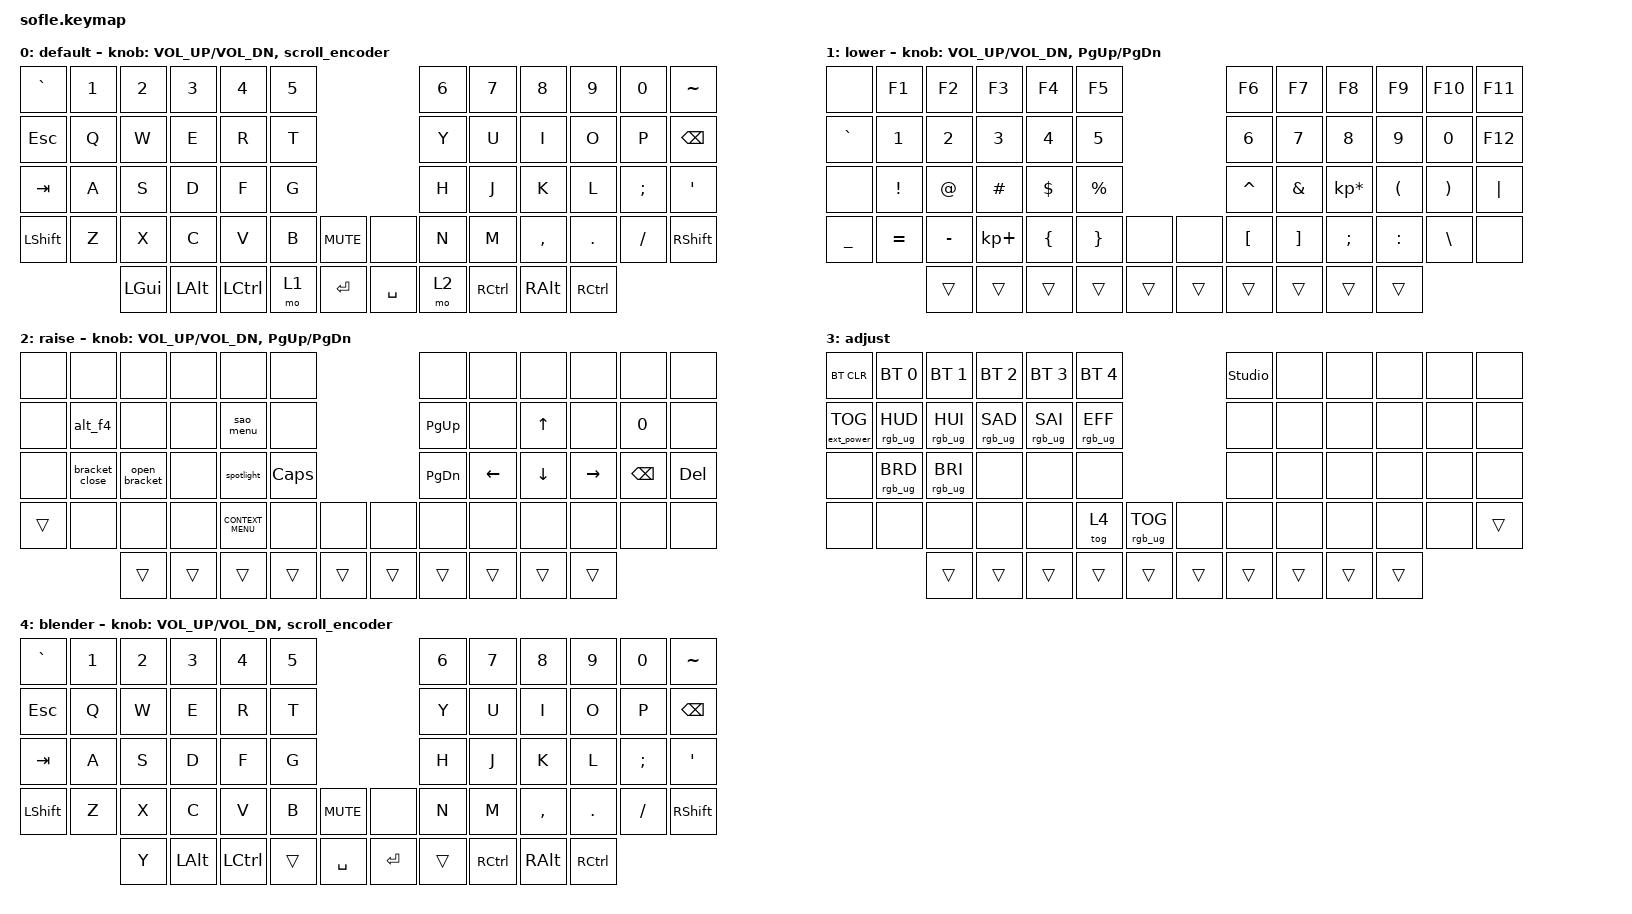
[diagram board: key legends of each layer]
/*
 * Copyright (c) 2020 The ZMK Contributors
 *
 * SPDX-License-Identifier: MIT
 */

#define ZMK_POINTING_DEFAULT_MOVE_VAL 1200  // 600
#define ZMK_POINTING_DEFAULT_SCRL_VAL 25   // 10

#include <behaviors.dtsi>
#include <dt-bindings/zmk/bt.h>
#include <dt-bindings/zmk/ext_power.h>
#include <dt-bindings/zmk/keys.h>
#include <dt-bindings/zmk/pointing.h>
#include <dt-bindings/zmk/rgb.h>

#define BASE 0
#define LOWER 1
#define RAISE 2
#define ADJUST 3

&msc {
    acceleration-exponent = <1>;      // 0
    time-to-max-speed-ms = <100>;       // 300
    delay-ms = <0>;                   // 0
};

&mmv {
    time-to-max-speed-ms = <500>;
    acceleration-exponent = <1>;
    trigger-period-ms = <16>;
};

/ {
    scroll_encoder: scroll_encoder {
        compatible = "zmk,behavior-sensor-rotate";
        #sensor-binding-cells = <0>;
        bindings = <&msc SCRL_DOWN>, <&msc SCRL_UP>;

        tap-ms = <100>;
    };

    // Activate ADJUST layer by pressing raise and lower

    conditional_layers {
        compatible = "zmk,conditional-layers";

        adjust_layer {
            if-layers = <1 2>;
            then-layer = <3>;
        };
    };

    behaviors {
    };

    macros {
        bracket_close: bracket_close {
            compatible = "zmk,behavior-macro";
            #binding-cells = <0>;
            bindings = <&kp LS(LC(LEFT_BRACKET))>;
            label = "BRACKET_CLOSE";
        };

        open_bracket: open_bracket {
            compatible = "zmk,behavior-macro";
            #binding-cells = <0>;
            bindings = <&kp LS(LC(RIGHT_BRACKET))>;
            label = "OPEN_BRACKET";
        };

        spotlight: spotlight {
            compatible = "zmk,behavior-macro";
            #binding-cells = <0>;
            bindings = <&kp LG(LA(SPACE))>;
            label = "SPOTLIGHT";
        };

        alt_f4: alt_f4 {
            compatible = "zmk,behavior-macro";
            #binding-cells = <0>;
            bindings = <&kp LA(F4)>;
            label = "ALT_F4";
        };

        sao_menu: sao_menu {
            compatible = "zmk,behavior-macro";
            #binding-cells = <0>;
            bindings = <&kp LC(LG(LA(W)))>;
            label = "SAO_MENU";
        };
    };

    keymap {
        compatible = "zmk,keymap";

        default_layer {
            display-name = "default";

            // ------------------------------------------------------------------------------------------------------------
            // |  ESC  |  1  |  2  |  3   |  4   |  5   |                   |  6   |  7    |  8    |  9   |   0   | BKSPC |
            // |  TAB  |  Q  |  W  |  E   |  R   |  T   |                   |  Y   |  U    |  I    |  O   |   P   | DEL   |
            // | SHIFT |  A  |  S  |  D   |  F   |  G   |                   |  H   |  J    |  K    |  L   |   ;   |   '   |
            // |  CTRL |  Z  |  X  |  C   |  V   |  B   |  MUTE  |  |       |  N   |  M    |  ,    |  .   |   /   | SHIFT |
            //               | GUI | ALT  | CTRL | LOWER|  ENTER |  | SPACE | RAISE| CTRL  | ALT   | GUI  |

            bindings = <
&kp GRAVE       &kp N1  &kp N2    &kp N3    &kp N4     &kp N5                           &kp N6  &kp N7             &kp N8     &kp N9     &kp N0    &kp TILDE
&kp ESC         &kp Q   &kp W     &kp E     &kp R      &kp T                            &kp Y   &kp U              &kp I      &kp O      &kp P     &kp BACKSPACE
&kp TAB         &kp A   &kp S     &kp D     &kp F      &kp G                            &kp H   &kp J              &kp K      &kp L      &kp SEMI  &kp SQT
&kp LEFT_SHIFT  &kp Z   &kp X     &kp C     &kp V      &kp B   &kp C_MUTE    &none      &kp N   &kp M              &kp COMMA  &kp DOT    &kp FSLH  &kp RSHFT
                        &kp LGUI  &kp LALT  &kp LCTRL  &mo 1   &kp ENTER     &kp SPACE  &mo 2   &kp RIGHT_CONTROL  &kp RALT   &kp RCTRL
            >;

            sensor-bindings = <&inc_dec_kp C_VOL_UP C_VOL_DN &scroll_encoder>;
        };

        lower_layer {
            display-name = "lower";

            // TODO: Some binds are waiting for shifted keycode support.
            // ------------------------------------------------------------------------------------------------------------
            // |       |  F1 |  F2 |  F3  |  F4  |  F5  |                   |  F6  |  F7   |  F8   |  F9  |  F10  |  F11  |
            // |   `   |  1  |  2  |  3   |  4   |  5   |                   |  6   |  7    |  8    |  9   |   0   |  F12  |
            // |       |  !  |  @  |  #   |  $   |  %   |                   |  ^   |  &    |  *    |  (   |   )   |   |   |
            // |       |  =  |  -  |  +   |  {   |  }   |        |  |       |  [   |  ]    |  ;    |  :   |   \   |       |
            //               |     |      |      |      |        |  |       |      |       |       |      |

            bindings = <
&none           &kp F1     &kp F2     &kp F3       &kp F4    &kp F5                       &kp F6     &kp F7    &kp F8           &kp F9     &kp F10   &kp F11
&kp GRAVE       &kp N1     &kp N2     &kp N3       &kp N4    &kp N5                       &kp N6     &kp N7    &kp N8           &kp N9     &kp N0    &kp F12
&none           &kp EXCL   &kp AT     &kp HASH     &kp DLLR  &kp PRCNT                    &kp CARET  &kp AMPS  &kp KP_MULTIPLY  &kp LPAR   &kp RPAR  &kp PIPE
&kp UNDERSCORE  &kp EQUAL  &kp MINUS  &kp KP_PLUS  &kp LBRC  &kp RBRC   &none     &none   &kp LBKT   &kp RBKT  &kp SEMI         &kp COLON  &kp BSLH  &none
                           &trans     &trans       &trans    &trans     &trans    &trans  &trans     &trans    &trans           &trans
            >;

            sensor-bindings = <&inc_dec_kp C_VOL_UP C_VOL_DN &inc_dec_kp PG_UP PG_DN>;
        };

        raise_layer {
            display-name = "raise";

            // ------------------------------------------------------------------------------------------------------------
            // | BTCLR | BT1  | BT2  |  BT3  |  BT4  |  BT5 |                |      |      |       |      |       |       |
            // |       | INS  | PSCR | GUI   |       |      |                | PGUP |      |   ^   |      |       |       |
            // |       | ALT  | CTRL | SHIFT |       | CAPS |                | PGDN |   <- |   v   |  ->  |  DEL  | BKSPC |
            // |       | UNDO | CUT  | COPY  | PASTE |      |      |  |      |      |      |       |      |       |       |
            //                |      |       |       |      |      |  |      |      |      |       |      |

            bindings = <
&none   &none           &none          &none   &none               &none                       &none      &none     &none     &none      &none          &none
&none   &alt_f4         &none          &none   &sao_menu           &none                       &kp PG_UP  &none     &kp UP    &none      &kp N0         &none
&none   &bracket_close  &open_bracket  &none   &spotlight          &kp CLCK                    &kp PG_DN  &kp LEFT  &kp DOWN  &kp RIGHT  &kp BACKSPACE  &kp DELETE
&trans  &none           &none          &none   &kp K_CONTEXT_MENU  &none     &none     &none   &none      &none     &none     &none      &none          &none
                        &trans         &trans  &trans              &trans    &trans    &trans  &trans     &trans    &trans    &trans
            >;

            sensor-bindings = <&inc_dec_kp C_VOL_UP C_VOL_DN &inc_dec_kp PG_UP PG_DN>;
        };

        adjust_layer {
            // ----------------------------------------------------------------------------------------------------------------------------
            // | BTCLR  |  BT1    |  BT2    |   BT3   |   BT4   |   BT5   |                  |      |      |       |      |       |       |
            // | EXTPWR | RGB_HUD | RGB_HUI | RGB_SAD | RGB_SAI | RGB_EFF |                  |      |      |       |      |       |       |
            // |        | RGB_BRD | RGB_BRI |         |         |         |                  |      |      |       |      |       |       |
            // |        |         |         |         |         |         | RGB_TOG | |      |      |      |       |      |       |       |
            //                    |         |         |         |         |         | |      |      |      |       |      |

            display-name = "adjust";
            bindings = <
&bt BT_CLR         &bt BT_SEL 0     &bt BT_SEL 1     &bt BT_SEL 2     &bt BT_SEL 3     &bt BT_SEL 4                                &studio_unlock  &none   &none   &none   &none  &none
&ext_power EP_TOG  &rgb_ug RGB_HUD  &rgb_ug RGB_HUI  &rgb_ug RGB_SAD  &rgb_ug RGB_SAI  &rgb_ug RGB_EFF                             &none           &none   &none   &none   &none  &none
&none              &rgb_ug RGB_BRD  &rgb_ug RGB_BRI  &none            &none            &none                                       &none           &none   &none   &none   &none  &none
&none              &none            &none            &none            &none            &tog 4           &rgb_ug RGB_TOG    &none   &none           &none   &none   &none   &none  &trans
                                    &trans           &trans           &trans           &trans           &trans             &trans  &trans          &trans  &trans  &trans
            >;
        };

        blender {
            display-name = "blender";
            bindings = <
&kp GRAVE       &kp N1  &kp N2  &kp N3    &kp N4     &kp N5                           &kp N6  &kp N7             &kp N8     &kp N9     &kp N0    &kp TILDE
&kp ESC         &kp Q   &kp W   &kp E     &kp R      &kp T                            &kp Y   &kp U              &kp I      &kp O      &kp P     &kp BACKSPACE
&kp TAB         &kp A   &kp S   &kp D     &kp F      &kp G                            &kp H   &kp J              &kp K      &kp L      &kp SEMI  &kp SQT
&kp LEFT_SHIFT  &kp Z   &kp X   &kp C     &kp V      &kp B   &kp C_MUTE    &none      &kp N   &kp M              &kp COMMA  &kp DOT    &kp FSLH  &kp RSHFT
                        &kp Y   &kp LALT  &kp LCTRL  &trans  &kp SPACE     &kp ENTER  &trans  &kp RIGHT_CONTROL  &kp RALT   &kp RCTRL
            >;

            sensor-bindings =
                <&inc_dec_kp C_VOL_UP C_VOL_DN>,
                <&scroll_encoder>;
        };
    };
};
